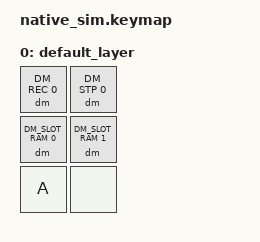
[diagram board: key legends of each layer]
#include <dt-bindings/zmk/keys.h>
#include <behaviors.dtsi>
#include <dt-bindings/zmk/kscan_mock.h>
#include <behaviors/dynamic_macro.dtsi>
#include <dt-bindings/zmk/dynamic_macros.h>

/*
 * Chain-insert event coverage: pressing a non-empty slot while recording chains
 * that slot's events into the draft and raises CHAIN_INSERTED (state stays
 * RECORDING). Records A into slot 0, starts a fresh recording, then chains slot 0
 * into the new draft.
 *
 * PERSIST=n forces NVS_SLOTS=0, so DM_SLOT_RAM 0 is machine slot 0. FEEDBACK_OFF
 * so the only stream is the dm_event notifications.
 *
 * Key layout (3 rows x 2 cols):
 *   (0,0)=REC        (0,1)=STP
 *   (1,0)=RAM slot 0 (1,1)=RAM slot 1
 *   (2,0)=A          (2,1)=none
 */

&kscan {
    rows = <3>;
    columns = <2>;
    exit-after;
    events = <
        /* REC A -> assign slot 0 */
        ZMK_MOCK_PRESS(0,0,10)
        ZMK_MOCK_RELEASE(0,0,10)
        ZMK_MOCK_PRESS(2,0,10)
        ZMK_MOCK_RELEASE(2,0,10)
        ZMK_MOCK_PRESS(0,1,10)
        ZMK_MOCK_RELEASE(0,1,10)
        ZMK_MOCK_PRESS(1,0,10)
        ZMK_MOCK_RELEASE(1,0,10)
        /* REC again, then chain slot 0 into the draft */
        ZMK_MOCK_PRESS(0,0,10)
        ZMK_MOCK_RELEASE(0,0,10)
        ZMK_MOCK_PRESS(1,0,10)
        ZMK_MOCK_RELEASE(1,0,10)
    >;
};

/ {
    keymap {
        compatible = "zmk,keymap";
        default_layer {
            bindings = <
                &dm DM_REC 0      &dm DM_STP 0
                &dm DM_SLOT_RAM 0 &dm DM_SLOT_RAM 1
                &kp A             &none
            >;
        };
    };
};
